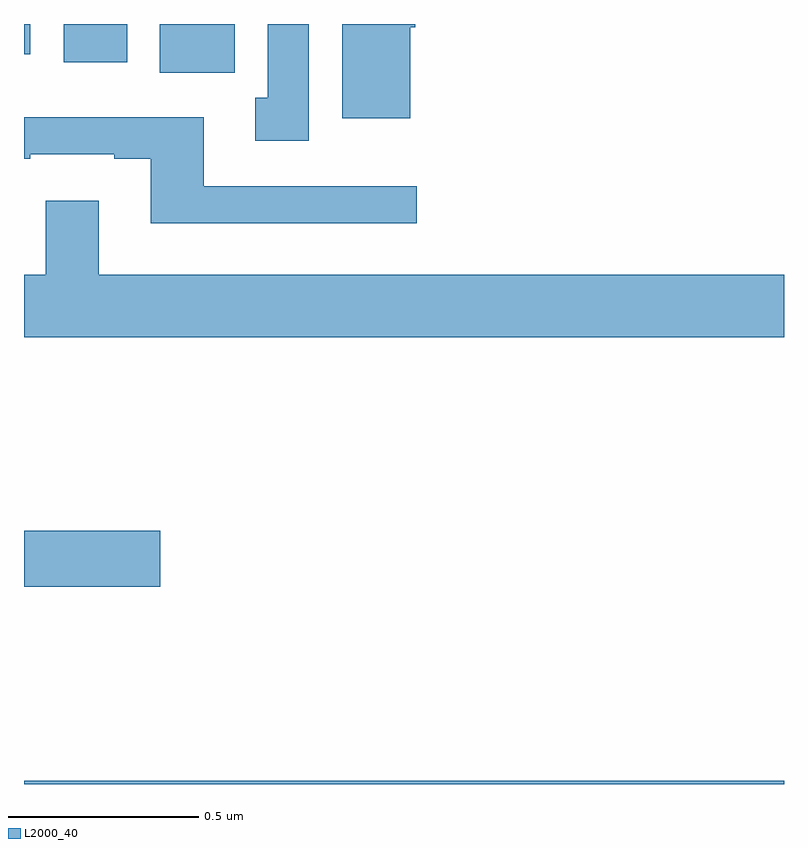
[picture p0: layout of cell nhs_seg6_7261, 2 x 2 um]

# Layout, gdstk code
import gdstk
lib = gdstk.Library(unit=1e-6, precision=1e-09)
def R(c, l, rs):  # rectangles x0, y0, x1, y1
    for r in rs: c.add(gdstk.rectangle(r[:2], r[2:], *l))
def P(c, l, *ps):  # polygons
    for p in ps: c.add(gdstk.Polygon(p, *l))
L2000_40 = (2000, 40)

nhs_seg6_7261 = lib.new_cell('nhs_seg6_7261')
R(nhs_seg6_7261, L2000_40, [(206,939.5,208,939.508), (206,940.019,206.359,940.166), (206.357,941.372,206.554,941.5), (206.105,941.4,206.272,941.5), (206,941.42,206.017,941.5)])
P(nhs_seg6_7261, L2000_40, [(207.016,941.492),(207.029,941.492),(207.029,941.5),(206.837,941.5),(206.837,941.252),(207.016,941.252)],
  [(206.749,941.5),(206.642,941.5),(206.642,941.306),(206.609,941.306),(206.609,941.193),(206.749,941.193)],
  [(207.034,941.073),(206.473,941.073),(206.473,941.254),(206,941.254),(206,941.145),(206.017,941.145),(206.017,941.157),(206.237,941.157),(206.237,941.145),(206.333,941.145),(206.333,940.976),(207.034,940.976)],
  [(208,940.84),(206.197,940.84),(206.197,941.035),(206.057,941.035),(206.057,940.84),(206,940.84),(206,940.676),(208,940.676)])

lib.write_gds('nhs_seg6_7261.gds')
